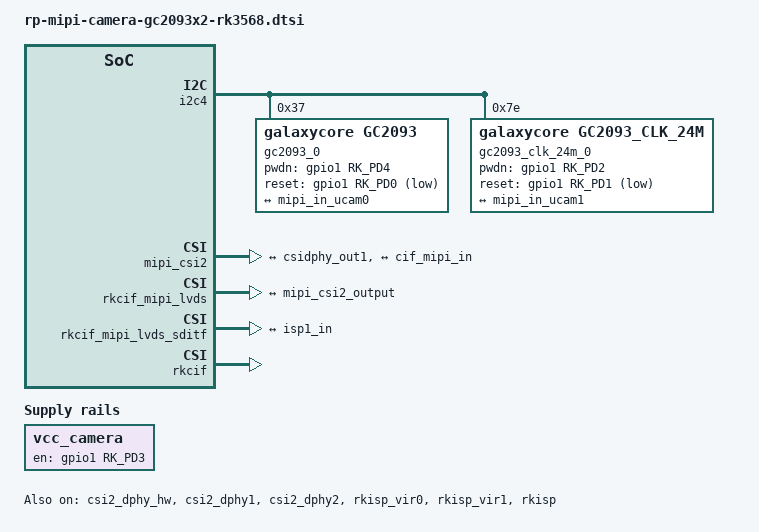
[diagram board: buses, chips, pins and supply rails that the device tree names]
#define RP_GC2093x2_CAMERA

/ {


        vcc_camera: vcc-camera-regulator {
                compatible = "regulator-fixed";
                gpio = <&gpio1 RK_PD3 GPIO_ACTIVE_HIGH>;
                pinctrl-names = "default";
                pinctrl-0 = <&camera_pwr>;
                regulator-name = "vcc_camera";
                enable-active-high;
                regulator-always-on;
                regulator-boot-on;
        };


};

&i2c4 {
        status = "okay";
	gc2093_0: gc2093_0@37 {
                compatible = "galaxycore,gc2093";
                status = "okay";
                reg = <0x37>;
                clocks = <&cru CLK_CIF_OUT>;
                clock-names = "xvclk";
                power-domains = <&power RK3568_PD_VI>;
                pinctrl-names = "default";
                pinctrl-0 = <&cif_clk>;
		pwdn-gpios = <&gpio1 RK_PD4 GPIO_ACTIVE_HIGH>;
                reset-gpios = <&gpio1 RK_PD0 GPIO_ACTIVE_LOW>;
                //avdd-supply = <&vcc_avdd>;
                //dovdd-supply = <&vcc_dovdd>;
                //dvdd-supply = <&vcc_dvdd>;
                rockchip,camera-module-index = <0>;
                rockchip,camera-module-facing = "back";
                rockchip,camera-module-name = "SIDB205300385-VA";
                rockchip,camera-module-lens-name = "default";
                //rockchip,camera-module-name = "DW-RV2093-V1.0";
                //rockchip,camera-module-lens-name = "JZ-7070AS-A1";
                port {
                        ucam_out0: endpoint {
                                remote-endpoint = <&mipi_in_ucam0>;
                                data-lanes = <1 2>;
                        };
                };
        };
        gc2093_clk_24m_0: gc2093_clk_24m_0@7e {
                compatible = "galaxycore,gc2093_clk_24m";
                status = "okay";
                reg = <0x7e>;
                clocks = <&pmucru CLK_WIFI>;
                clock-names = "xvclk";
                power-domains = <&power RK3568_PD_VI>;
                pinctrl-names = "default";
                pinctrl-0 = <&refclk_pins>;
		pwdn-gpios = <&gpio1 RK_PD2 GPIO_ACTIVE_HIGH>;
                reset-gpios = <&gpio1 RK_PD1 GPIO_ACTIVE_LOW>;
                //avdd-supply = <&vcc_avdd>;
                //dovdd-supply = <&vcc_dovdd>;
                //dvdd-supply = <&vcc_dvdd>;
                rockchip,camera-module-index = <1>;
                rockchip,camera-module-facing = "front";
                rockchip,camera-module-name = "DW-RV2093-V1.0";
                rockchip,camera-module-lens-name = "JZ-7070AS-A1";
                port {
                        ucam_out1: endpoint {
                                remote-endpoint = <&mipi_in_ucam1>;
                                data-lanes = <1 2>;
                        };
                };
        };
};

&csi2_dphy_hw {
        status = "okay";
};

&csi2_dphy0 {
		status = "disabled";
};

&csi2_dphy1 {
        status = "okay";

        ports {
                #address-cells = <1>;
                #size-cells = <0>;
                port@0 {
                        reg = <0>;
                        #address-cells = <1>;
                        #size-cells = <0>;

                        mipi_in_ucam0: endpoint@1 {
                                reg = <1>;
                                remote-endpoint = <&ucam_out0>;
                                data-lanes = <1 2>;
                        };
              };
                port@1 {
                        reg = <1>;
                        #address-cells = <1>;
                        #size-cells = <0>;

                        csidphy_out0: endpoint@0 {
                                reg = <0>;
                                remote-endpoint = <&isp0_in>;
                        };
                };
        };
};


&csi2_dphy2 {
        status = "okay";

        ports {
                #address-cells = <1>;
                #size-cells = <0>;
                port@0 {
                        reg = <0>;
                        #address-cells = <1>;
                        #size-cells = <0>;

                        mipi_in_ucam1: endpoint@1 {
                                reg = <1>;
                                remote-endpoint = <&ucam_out1>;
                                data-lanes = <1 2>;
                        };
              };
                port@1 {
                        reg = <1>;
                        #address-cells = <1>;
                        #size-cells = <0>;

                        csidphy_out1: endpoint@0 {
                                reg = <0>;
                                remote-endpoint = <&mipi_csi2_input>;
                        };
                };
        };
};

&mipi_csi2 {
	status = "okay";
	ports {
		#address-cells = <1>;
		#size-cells = <0>;
		port@0 {
			reg = <0>;
			#address-cells = <1>;
			#size-cells = <0>;
			mipi_csi2_input: endpoint@1 {
				reg = <1>;
				remote-endpoint = <&csidphy_out1>;
				data-lanes = <1 2>;
			};
		};
		port@1 {
			reg = <1>;
			#address-cells = <1>;
			#size-cells = <0>;
			
			mipi_csi2_output: endpoint@0 {
				reg = <0>;
				remote-endpoint = <&cif_mipi_in>;
				data-lanes = <1 2>;
				};
		};
	};
};

&rkcif_mipi_lvds {
	status = "okay";
	port {
		cif_mipi_in: endpoint {
		remote-endpoint = <&mipi_csi2_output>;
		data-lanes = <1 2>;
		};
	};
};

&rkcif_mipi_lvds_sditf {
	status = "okay";
	port {
		mipi_lvds_sditf: endpoint {
			remote-endpoint = <&isp1_in>;
			data-lanes = <1 2>;
		};
	};
};


&rkisp_vir0 {
        status = "okay";

        port {
                #address-cells = <1>;
                #size-cells = <0>;

                isp0_in: endpoint@0 {
                        reg = <0>;
                        remote-endpoint = <&csidphy_out0>;
                };
        };
};



&rkisp_vir1 {
	status = "okay";
	
	ports {
		port@0 {
			reg = <0>;
			#address-cells = <1>;
			#size-cells = <0>;
			
			isp1_in: endpoint@0 {
				reg = <0>;
				remote-endpoint = <&mipi_lvds_sditf>;
			};
		};
	};
};


&rkisp {
        status = "okay";
};

&rkisp_mmu {
        status = "okay";
};

&rkcif_mmu {
    status = "okay";
};

&rkcif {
    status = "okay";
};


&pinctrl {
        cam {
                camera_pwr: camera-pwr {
                        rockchip,pins =
                                /* camera power en */
                                <1 RK_PD3 RK_FUNC_GPIO &pcfg_pull_none>;
                };
        };
};
